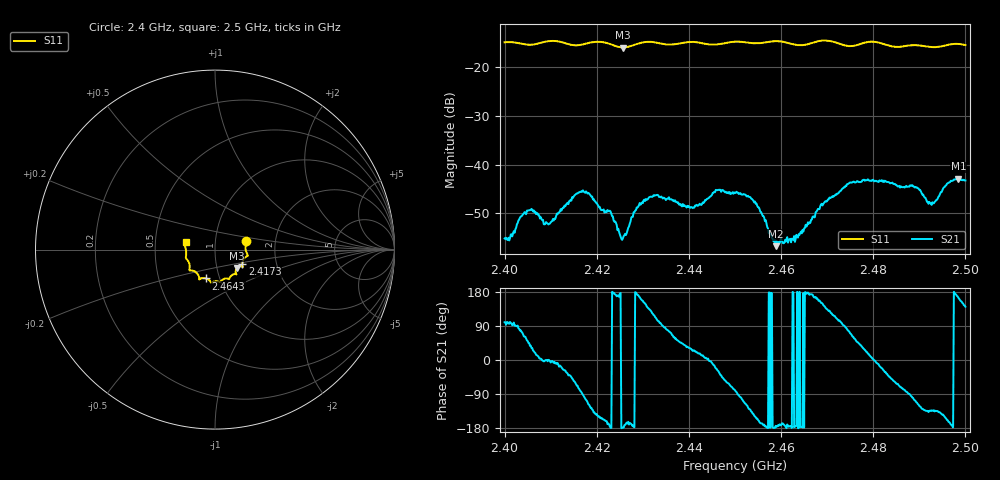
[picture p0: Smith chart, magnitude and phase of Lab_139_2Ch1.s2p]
# Hz S RI R 50
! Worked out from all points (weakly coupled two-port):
!   601 points, 2.4 GHz to 2.5 GHz, reference 50 ohm
!   highest |S21| = -42.85 dB at 2.4985 GHz (marker M1); lowest = -56.7 dB at 2.4588 GHz (marker M2)
!   lowest |S11| = -15.9 dB at 2.4257 GHz (marker M3), VSWR 1.38, Z = 62.4 - j13.1 ohm
!   |S11| at or under -10 dB: start of sweep to end of sweep
!   S12 and S22 are empty: the file has one direction only
!   S11 on the Smith chart (normalised r, x): 2.4 GHz: 1.41, +0.15; 2.4173 GHz: 1.34, -0.23; 2.4643 GHz: 0.86, -0.28; 2.5 GHz: 0.72, +0.06
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2.4e9  0.1734 0.0497  -0.000294 0.00172  0 0  0 0
2.405333e9  0.1699 0.00888  0.00243 0.00239  0 0  0 0
2.409833e9  0.1831 -0.0322  0.00248 -0.000134  0 0  0 0
2.416667e9  0.1531 -0.0746  0.000461 -0.00531  0 0  0 0
2.417333e9  0.1526 -0.0821  -0.000787 -0.00516  0 0  0 0
2.422833e9  0.1463 -0.0937  -0.00336 -0.000272  0 0  0 0
2.425667e9  0.1223 -0.1024  -0.00175 -5.55e-05  0 0  0 0
2.429167e9  0.1161 -0.1321  -0.00376 0.000837  0 0  0 0
2.433333e9  0.1127 -0.1366  -0.00105 0.00474  0 0  0 0
2.440667e9  0.0785 -0.1643  0.00327 0.00162  0 0  0 0
2.446333e9  0.0448 -0.1663  0.00483 -0.00266  0 0  0 0
2.45e9  0.0297 -0.1808  0.000885 -0.00503  0 0  0 0
2.454167e9  0.00857 -0.1762  -0.00343 -0.00225  0 0  0 0
2.458833e9  -0.021 -0.184  -0.00145 -0.000159  0 0  0 0
2.464333e9  -0.0501 -0.1606  -0.00205 -0.000124  0 0  0 0
2.466667e9  -0.0763 -0.1601  -0.00271 0.000335  0 0  0 0
2.474833e9  -0.1046 -0.1276  0.0018 0.00623  0 0  0 0
2.483333e9  -0.1411 -0.0894  0.00493 -0.00443  0 0  0 0
2.489333e9  -0.1625 -0.0444  -0.00212 -0.00541  0 0  0 0
2.4925e9  -0.1603 -0.0196  -0.0028 -0.00285  0 0  0 0
2.4985e9  -0.1703 0.0338  -0.00692 0.00199  0 0  0 0
2.5e9  -0.1637 0.042  -0.00532 0.00437  0 0  0 0
